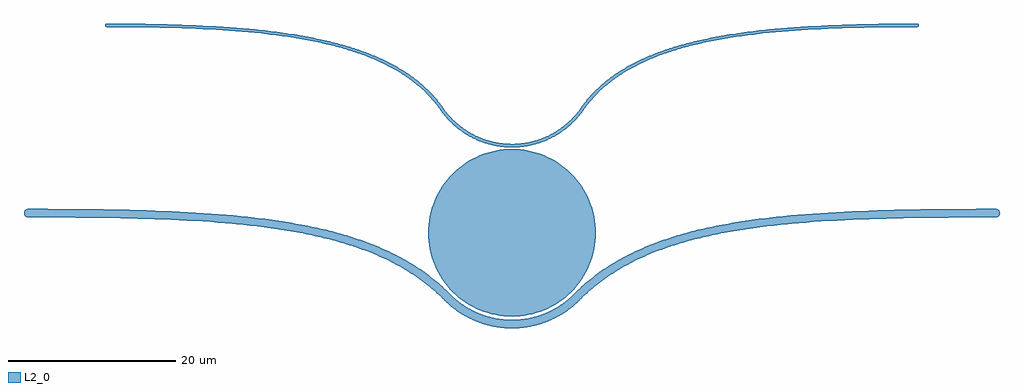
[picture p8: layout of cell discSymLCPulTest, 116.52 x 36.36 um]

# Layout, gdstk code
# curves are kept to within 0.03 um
import gdstk
lib = gdstk.Library(unit=1e-6, precision=1e-09)
def P(c, l, *ps):  # polygons
    for p in ps: c.add(gdstk.Polygon(p, *l))
L2_0 = (2, 0)

discsymlcpultest = lib.new_cell('discSymLCPulTest')
P(discsymlcpultest, L2_0, [(-67.76,21.845),(-67.954,21.884),(-68.113,21.992),(-68.22,22.151),(-68.26,22.345),(-68.22,22.54),(-68.113,22.699),(-67.954,22.806),(-67.76,22.845)],
  [(47.76,21.845),(47.76,22.845),(47.954,22.806),(48.113,22.699),(48.22,22.54),(48.26,22.345),(48.22,22.151),(48.113,21.992),(47.954,21.884)],
  [(-10,8.6),(-11.2,8.663),(-12.524,8.883),(-13.681,9.21),(-14.924,9.718),(-15.858,10.22),(-16.798,10.848),(-17.671,11.567),(-19.179,13.003),(-20.308,13.942),(-21.749,14.977),(-23.286,15.919),(-25.202,16.905),(-27.251,17.776),(-29.436,18.54),(-32.101,19.289),(-35.318,19.989),(-38.39,20.497),(-42.088,20.952),(-46.03,21.294),(-50.7,21.56),(-55.681,21.727),(-60.978,21.815),(-67.76,21.845),(-67.76,22.845),(-60.948,22.815),(-55.625,22.726),(-50.618,22.557),(-46.837,22.351),(-42.818,22.029),(-39.45,21.652),(-35.883,21.109),(-32.891,20.505),(-30.769,19.973),(-28.424,19.259),(-26.217,18.439),(-24.435,17.646),(-22.213,16.45),(-20.413,15.268),(-18.744,13.951),(-16.558,11.928),(-15.887,11.426),(-15.065,10.916),(-13.902,10.36),(-12.616,9.934),(-11.351,9.688),(-10.065,9.6),(-8.777,9.672),(-7.446,9.918),(-6.218,10.312),(-4.935,10.916),(-4.113,11.426),(-3.442,11.928),(-1.256,13.951),(0.413,15.268),(1.425,15.96),(2.482,16.609),(4.725,17.784),(6.834,18.685),(8.751,19.368),(10.769,19.973),(12.891,20.505),(15.883,21.109),(19.45,21.652),(22.818,22.029),(26.837,22.351),(30.618,22.557),(35.625,22.726),(40.948,22.815),(47.76,22.845),(47.76,21.845),(40.978,21.815),(35.681,21.727),(30.7,21.56),(26.03,21.294),(22.088,20.952),(18.39,20.497),(15.318,19.989),(12.101,19.289),(9.436,18.54),(7.251,17.776),(5.202,16.905),(3.286,15.919),(1.749,14.977),(0.308,13.942),(-0.821,13.003),(-2.329,11.567),(-3.202,10.848),(-4.142,10.22),(-5.076,9.718),(-6.319,9.21),(-7.476,8.883),(-8.8,8.663)],
  [(-10,10),(-10.98,10.048),(-11.951,10.192),(-12.903,10.431),(-13.827,10.761),(-14.714,11.181),(-15.556,11.685),(-16.344,12.27),(-17.071,12.929),(-17.73,13.656),(-18.315,14.444),(-18.819,15.286),(-19.239,16.173),(-19.569,17.097),(-19.808,18.049),(-19.952,19.02),(-20,20),(-19.952,20.98),(-19.808,21.951),(-19.569,22.903),(-19.239,23.827),(-18.819,24.714),(-18.315,25.556),(-17.73,26.344),(-17.071,27.071),(-16.344,27.73),(-15.556,28.315),(-14.714,28.819),(-13.827,29.239),(-12.903,29.569),(-11.951,29.808),(-10.98,29.952),(-10,30),(-9.02,29.952),(-8.049,29.808),(-7.097,29.569),(-6.173,29.239),(-5.286,28.819),(-4.444,28.315),(-3.656,27.73),(-2.929,27.071),(-2.27,26.344),(-1.685,25.556),(-1.181,24.714),(-0.761,23.827),(-0.431,22.903),(-0.192,21.951),(-0.048,20.98),(0,20),(-0.048,19.02),(-0.192,18.049),(-0.431,17.097),(-0.761,16.173),(-1.181,15.286),(-1.685,14.444),(-2.27,13.656),(-2.929,12.929),(-3.656,12.27),(-4.444,11.685),(-5.286,11.181),(-6.173,10.761),(-7.097,10.431),(-8.049,10.192),(-9.02,10.048)],
  [(-10,30.2),(-11.404,30.295),(-12.783,30.579),(-14.039,31.016),(-15.229,31.61),(-16.271,32.303),(-17.222,33.116),(-17.969,33.917),(-19.1,35.413),(-20.046,36.487),(-21.096,37.476),(-22.453,38.528),(-23.949,39.473),(-25.825,40.432),(-27.611,41.169),(-29.814,41.903),(-32.186,42.529),(-34.732,43.056),(-37.447,43.49),(-40.691,43.876),(-44.528,44.19),(-48.601,44.399),(-52.905,44.518),(-58.385,44.564),(-58.531,44.651),(-58.556,44.822),(-58.477,44.929),(-58.365,44.963),(-58.365,44.563),(-58.365,44.963),(-55.587,44.952),(-48.572,44.798),(-45.284,44.638),(-42.147,44.412),(-38.803,44.07),(-35.658,43.623),(-32.717,43.06),(-29.976,42.367),(-27.719,41.634),(-25.635,40.783),(-23.957,39.936),(-22.208,38.843),(-20.827,37.771),(-19.757,36.764),(-18.793,35.67),(-17.711,34.232),(-16.89,33.352),(-16.03,32.622),(-15.093,31.994),(-13.953,31.414),(-12.604,30.945),(-11.201,30.672),(-9.925,30.6),(-8.575,30.702),(-7.251,30.985),(-5.978,31.444),(-4.843,32.032),(-3.97,32.622),(-3.056,33.404),(-2.289,34.232),(-1.207,35.67),(-0.243,36.764),(0.827,37.771),(2.208,38.843),(3.957,39.936),(5.635,40.783),(7.719,41.634),(9.684,42.281),(12.09,42.917),(14.987,43.508),(18.087,43.98),(21.387,44.345),(25.284,44.638),(29.417,44.829),(33.78,44.932),(38.365,44.963),(38.365,44.563),(32.905,44.518),(27.768,44.365),(23.741,44.136),(19.953,43.799),(17.099,43.441),(14.404,42.995),(11.88,42.456),(9.53,41.817),(7.611,41.169),(5.581,40.319),(3.727,39.345),(2.251,38.384),(1.096,37.476),(0.046,36.487),(-0.9,35.413),(-2.031,33.917),(-2.778,33.116),(-3.729,32.303),(-4.771,31.61),(-5.961,31.016),(-7.217,30.579),(-8.596,30.295)],
  [(38.365,44.563),(38.365,44.963),(38.443,44.947),(38.506,44.904),(38.549,44.841),(38.565,44.763),(38.549,44.685),(38.506,44.622),(38.443,44.579)])

lib.write_gds('discSymLCPulTest.gds')
